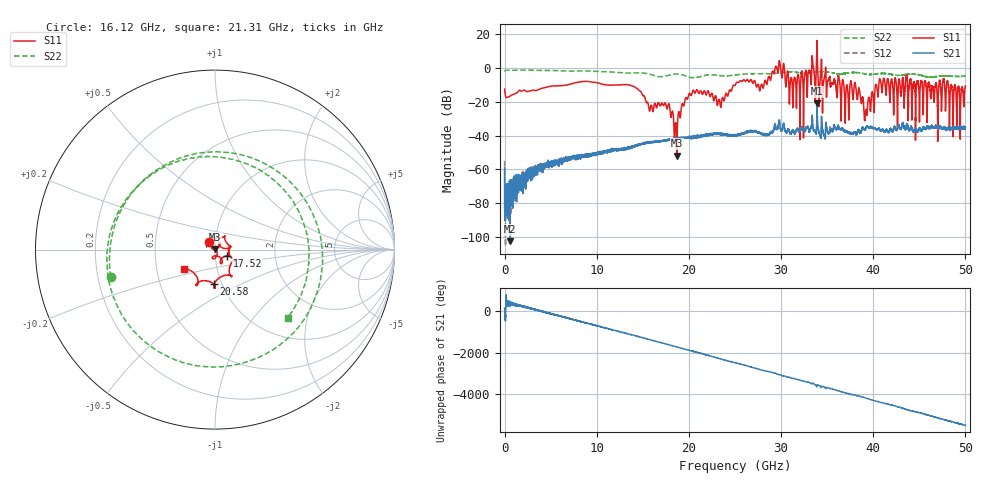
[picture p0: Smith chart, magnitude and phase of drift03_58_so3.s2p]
!Created with skrf (http://scikit-rf.org).
# Hz S RI R 50.0
!freq ReS11 ImS11 ReS21 ImS21 ReS12 ImS12 ReS22 ImS22
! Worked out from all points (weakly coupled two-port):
!   10001 points, 300 kHz to 50 GHz, reference 50 ohm
!   highest |S21| = -20.90 dB at 33.9 GHz (marker M1); lowest = -102.3 dB at 600.3 MHz (marker M2)
!   lowest |S11| = -51.8 dB at 18.69 GHz (marker M3), VSWR 1.01, Z = 49.9 + j0.234 ohm
!   |S11| at or under -10 dB: start of sweep to 6.94 GHz; 13.32 GHz to 25.04 GHz (11.72 GHz wide, 61.1 % of centre); 38.08 GHz to 40.26 GHz (2.186 GHz wide, 5.58 % of centre) (the widest 3 of 54)
!   |S22| runs from -5.9 to -1.3 dB; largest |S21 - S12| = 0.0092
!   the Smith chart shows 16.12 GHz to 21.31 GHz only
!   S11 on the Smith chart (normalised r, x): 16.12 GHz: 0.94, +0.08; 17.52 GHz: 1.14, -0.08; 20.58 GHz: 0.92, -0.37; 21.31 GHz: 0.69, -0.16
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300000  -0.2095 -0.1033  -0.00028 0.0011  0.000433 0.00175  -0.7628 -0.2001
6.002964e8  -0.0492 0.1361  -6.53e-06 -4e-06  9.3e-05 3.56e-05  -0.2922 0.7917
2.335286e9  0.0221 -0.2009  -0.000792 -0.00032  -0.000567 0.000184  0.0901 -0.8515
3.935276e9  -0.02 0.2405  0.00103 9.5e-05  0.00102 0.000159  -0.0305 0.8322
5.470267e9  0.068 -0.282  -0.00145 0.000177  -0.00149 0.000219  0.1703 -0.809
7.135257e9  0.00968 0.3327  0.00198 -0.000894  0.00199 -0.000743  -0.0436 0.792
8.33525e9  0.2836 -0.2677  -0.00258 -0.000781  -0.00226 -0.000901  0.6024 -0.5354
9.575243e9  -0.3716 -0.0482  0.00123 0.00229  0.00145 0.00233  -0.7855 -0.096
1.124523e10  0.3061 0.0227  -0.00241 -0.00249  -0.00227 -0.00251  0.7571 0.0203
1.61152e10  -0.0316 0.0409  0.00614 0.00222  0.00627 0.00212  -0.5796 -0.1518
1.66702e10  0.0541 0.0754  0.0045 -0.0047  0.00466 -0.00467  -0.3608 0.4177
1.752019e10  0.0684 -0.0353  -0.00612 -0.00378  -0.00609 -0.0039  0.4888 0.2956
1.869019e10  -0.00108 0.00235  0.0022 0.00776  0.00258 0.00795  -0.0818 -0.6484
2.057518e10  -0.00479 -0.1937  -0.00812 -0.00498  -0.00768 -0.00445  0.3731 0.3448
2.131017e10  -0.1723 -0.1091  -0.00564 0.0077  -0.00532 0.00801  0.4053 -0.3797
2.500015e10  -0.2973 -0.0481  0.00762 0.00668  0.00787 0.00666  -0.1866 -0.5831
3.052012e10  0.2262 -0.1491  -0.00189 0.0126  -0.00194 0.0129  0.7427 -0.0712
3.213011e10  0.1996 0.375  -0.000654 -0.015  -0.000253 -0.0149  -0.6988 0.0115
3.33351e10  0.4876 -1.008  -0.00514 0.0263  -0.00566 0.0258  0.6135 0.3669
3.38951e10  -0.7346 -6.336  0.0895 0.0108  0.0825 0.00771  0.6784 -0.3209
4.167005e10  -0.2249 0.2868  -0.012 -0.00443  -0.0114 -0.00495  -0.6528 -0.0558
5e10  -0.1524 -0.2501  0.000681 -0.0175  0.00182 -0.0163  0.4681 -0.314
